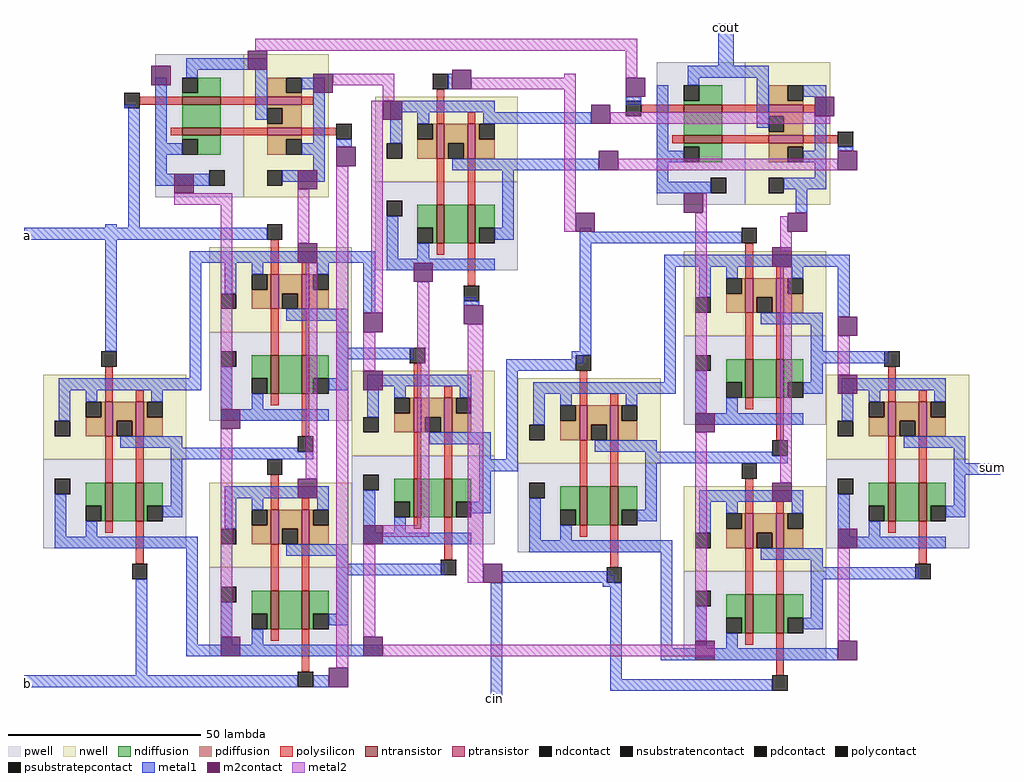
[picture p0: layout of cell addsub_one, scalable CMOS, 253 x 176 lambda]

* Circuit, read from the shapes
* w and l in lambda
.subckt addsub_one GND! Vdd! a b cin cout sum
M1 n1 a GND! GND! nfet w=10 l=2
M2 xor2_0/nand2_2/A b n1 GND! nfet w=10 l=2
M3 n2 b GND! GND! nfet w=10 l=2
M4 nand2_2/B a n2 GND! nfet w=10 l=2
M5 n3 xor2_0/nand2_2/A GND! GND! nfet w=10 l=2
M6 n4 a GND! GND! nfet w=10 l=2
M7 xor2_0/nand2_1/B b n3 GND! nfet w=10 l=2
M8 xor2_0/nand2_1/A xor2_0/nand2_2/A n4 GND! nfet w=10 l=2
M9 n5 xor2_0/nand2_1/A GND! GND! nfet w=10 l=2
M10 n6 nand2_0/A GND! GND! nfet w=10 l=2
M11 nand2_0/A xor2_0/nand2_1/B n5 GND! nfet w=10 l=2
M12 nand2_2/A cin n6 GND! nfet w=10 l=2
M13 n7 nand2_0/A GND! GND! nfet w=10 l=2
M14 xor2_1/nand2_2/A cin n7 GND! nfet w=10 l=2
M15 n8 nand2_2/A GND! GND! nfet w=10 l=2
M16 cout nand2_2/B n8 GND! nfet w=10 l=2
M17 n9 xor2_1/nand2_2/A GND! GND! nfet w=10 l=2
M18 n10 nand2_0/A GND! GND! nfet w=10 l=2
M19 xor2_1/nand2_1/B cin n9 GND! nfet w=10 l=2
M20 xor2_1/nand2_1/A xor2_1/nand2_2/A n10 GND! nfet w=10 l=2
M21 n11 xor2_1/nand2_1/A GND! GND! nfet w=10 l=2
M22 sum xor2_1/nand2_1/B n11 GND! nfet w=10 l=2
M23 xor2_0/nand2_2/A a Vdd! Vdd! pfet w=9 l=2
M24 Vdd! b xor2_0/nand2_2/A Vdd! pfet w=9 l=2
M25 nand2_2/B b Vdd! Vdd! pfet w=9 l=2
M26 Vdd! a nand2_2/B Vdd! pfet w=9 l=2
M27 xor2_0/nand2_1/B xor2_0/nand2_2/A Vdd! Vdd! pfet w=9 l=2
M28 xor2_0/nand2_1/A a Vdd! Vdd! pfet w=9 l=2
M29 Vdd! b xor2_0/nand2_1/B Vdd! pfet w=9 l=2
M30 Vdd! xor2_0/nand2_2/A xor2_0/nand2_1/A Vdd! pfet w=9 l=2
M31 nand2_0/A xor2_0/nand2_1/A Vdd! Vdd! pfet w=9 l=2
M32 nand2_2/A nand2_0/A Vdd! Vdd! pfet w=9 l=2
M33 Vdd! xor2_0/nand2_1/B nand2_0/A Vdd! pfet w=9 l=2
M34 Vdd! cin nand2_2/A Vdd! pfet w=9 l=2
M35 xor2_1/nand2_2/A nand2_0/A Vdd! Vdd! pfet w=9 l=2
M36 Vdd! cin xor2_1/nand2_2/A Vdd! pfet w=9 l=2
M37 xor2_1/nand2_1/B xor2_1/nand2_2/A Vdd! Vdd! pfet w=9 l=2
M38 xor2_1/nand2_1/A nand2_0/A Vdd! Vdd! pfet w=9 l=2
M39 cout nand2_2/A Vdd! Vdd! pfet w=9 l=2
M40 Vdd! nand2_2/B cout Vdd! pfet w=9 l=2
M41 Vdd! cin xor2_1/nand2_1/B Vdd! pfet w=9 l=2
M42 Vdd! xor2_1/nand2_2/A xor2_1/nand2_1/A Vdd! pfet w=9 l=2
M43 sum xor2_1/nand2_1/A Vdd! Vdd! pfet w=9 l=2
M44 Vdd! xor2_1/nand2_1/B sum Vdd! pfet w=9 l=2
.ends

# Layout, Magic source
magic
tech scmos
<< metal1 >>
rect 17 -2 21 10
rect -53 -7 -52 -3
rect -137 -12 -134 -11
rect -136 -43 -133 -12
rect -7 -11 -3 -9
rect -41 -16 -16 -13
rect -82 -22 -78 -20
rect 48 -23 52 -22
rect -39 -28 -14 -25
rect -128 -32 -124 -29
rect -119 -32 -116 -29
rect 8 -34 13 -33
rect 37 -39 40 -32
rect -163 -46 -129 -43
rect -49 -62 -46 -61
rect -49 -63 -45 -62
rect -19 -71 -17 -68
rect -21 -77 -18 -75
rect -38 -78 -18 -77
rect -38 -80 -20 -78
rect -112 -93 -100 -90
rect -38 -103 -35 -80
rect -40 -106 -35 -103
rect 86 -107 90 -104
rect -74 -125 -63 -122
rect -39 -133 -11 -132
rect -39 -135 -10 -133
rect -114 -154 -102 -151
rect -81 -154 -70 -151
rect -163 -162 -125 -159
rect -88 -162 -84 -159
rect -42 -166 -39 -135
rect -13 -136 -10 -135
rect 8 -155 19 -152
<< m2contact >>
rect -130 -6 -125 -1
rect -105 -2 -100 3
rect -88 -8 -83 -3
rect -52 -7 -47 -2
rect -7 -9 -2 -4
rect -70 -15 -65 -10
rect -16 -16 -11 -11
rect 42 -14 47 -9
rect -82 -27 -77 -22
rect -14 -28 -9 -23
rect 48 -28 53 -23
rect -124 -34 -119 -29
rect -92 -33 -87 -28
rect 8 -39 13 -34
rect -20 -44 -15 -39
rect 35 -44 40 -39
rect -62 -57 -57 -52
rect -49 -68 -44 -63
rect -44 -135 -39 -130
rect -84 -162 -79 -157
<< metal2 >>
rect -103 3 -4 6
rect -83 -6 -67 -3
rect -70 -10 -67 -6
rect -23 -4 -20 -3
rect -47 -7 -20 -4
rect -124 -37 -109 -34
rect -112 -90 -109 -37
rect -92 -47 -89 -33
rect -82 -157 -79 -27
rect -73 -65 -70 -10
rect -23 -44 -20 -7
rect -7 -4 -4 3
rect -11 -14 42 -13
rect -11 -16 46 -14
rect -9 -28 48 -25
rect 13 -39 14 -34
rect -61 -120 -58 -57
rect -70 -123 -58 -120
rect -48 -135 -44 -68
rect 11 -91 14 -39
rect 33 -44 35 -40
rect 33 -49 36 -44
rect -70 -154 16 -151
use nand2  nand2_1
transform 0 1 -122 1 0 -45
box 10 -15 47 44
use nand2  nand2_2
transform 0 1 8 1 0 -47
box 10 -15 47 44
use nand2  nand2_0
transform 1 0 -82 0 1 -47
box 10 -15 47 44
use xor2  xor2_0
transform 1 0 -146 0 1 -85
box -12 -77 109 43
use xor2  xor2_1
transform 1 0 -23 0 1 -86
box -12 -77 109 43
<< labels >>
rlabel metal1 19 9 19 9 1 cout
rlabel metal1 -41 -165 -41 -165 5 cin
rlabel metal1 -162 -45 -162 -45 7 a
rlabel metal1 -162 -161 -162 -161 7 b
rlabel metal1 88 -105 88 -105 3 sum
<< end >>

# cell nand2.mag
magic
tech scmos
<< nwell >>
rect 10 16 47 38
<< pwell >>
rect 10 -7 47 16
<< ntransistor >>
rect 26 0 28 10
rect 34 0 36 10
<< ptransistor >>
rect 26 22 28 31
rect 34 22 36 31
<< ndiffusion >>
rect 21 4 26 10
rect 25 0 26 4
rect 28 0 34 10
rect 36 4 41 10
rect 36 0 37 4
<< pdiffusion >>
rect 25 27 26 31
rect 21 22 26 27
rect 28 26 34 31
rect 28 22 29 26
rect 33 22 34 26
rect 36 27 37 31
rect 36 22 41 27
<< ndcontact >>
rect 21 0 25 4
rect 37 0 41 4
<< pdcontact >>
rect 21 27 25 31
rect 29 22 33 26
rect 37 27 41 31
<< psubstratepcontact >>
rect 13 7 17 11
<< nsubstratencontact >>
rect 13 22 17 26
<< polysilicon >>
rect 26 31 28 40
rect 34 31 36 34
rect 26 10 28 22
rect 34 10 36 22
rect 26 -3 28 0
rect 34 -11 36 0
<< polycontact >>
rect 25 40 29 44
rect 33 -15 37 -11
<< metal1 >>
rect 14 34 41 37
rect 14 26 17 34
rect 21 31 24 34
rect 38 31 41 34
rect 30 19 46 22
rect 13 -4 16 7
rect 43 4 46 19
rect 41 1 46 4
rect 21 -4 24 0
rect 13 -7 41 -4
<< labels >>
rlabel metal1 14 34 41 37 1 Vdd!
rlabel metal1 13 -7 41 -4 5 GND!
rlabel metal1 43 12 46 15 3 out
port 3 e
rlabel polycontact 25 40 29 44 1 A
port 2 n
rlabel polycontact 33 -15 37 -11 5 B
port 1 s
<< end >>

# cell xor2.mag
magic
tech scmos
<< metal1 >>
rect 4 42 7 43
rect 4 39 46 42
rect 4 10 7 39
rect 26 33 39 36
rect 59 33 74 36
rect 26 3 29 33
rect 71 20 74 33
rect 67 8 84 11
rect 18 0 29 3
rect 92 3 95 4
rect 24 -16 54 -15
rect 24 -18 58 -16
rect 104 -21 109 -18
rect 17 -41 28 -38
rect 12 -74 15 -49
rect 25 -66 28 -41
rect 67 -48 92 -45
rect 25 -69 34 -66
rect 39 -69 42 -66
rect 60 -69 71 -66
rect 12 -77 54 -74
<< m2contact >>
rect 54 33 59 38
rect 71 15 76 20
rect 71 0 76 5
rect 34 -10 39 -5
rect 54 -28 59 -23
rect 71 -40 76 -35
rect 34 -69 39 -64
rect 71 -69 76 -64
<< metal2 >>
rect 34 -64 37 -10
rect 56 -23 59 33
rect 71 5 74 15
rect 71 -64 74 -40
use nand2  nand2_2
transform 1 0 21 0 1 -62
box 10 -15 47 44
use nand2  nand2_0
transform 1 0 21 0 1 -1
box 10 -15 47 44
use nand2  nand2_1
transform 1 0 58 0 1 -33
box 10 -15 47 44
use nand2  nand2_3
transform 1 0 -22 0 1 -34
box 10 -15 47 44
<< labels >>
rlabel metal1 107 -20 108 -20 3 out
rlabel metal1 5 42 6 42 1 a
rlabel metal1 13 -76 14 -76 5 b
<< end >>
